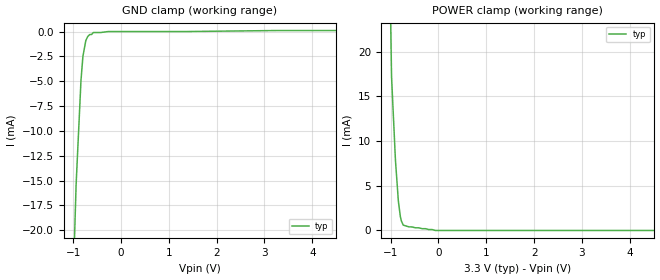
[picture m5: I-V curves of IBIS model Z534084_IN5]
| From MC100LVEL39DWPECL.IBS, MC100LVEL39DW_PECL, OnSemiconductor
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| (C) COPYRIGHT 1993-2000
| MENTOR GRAPHICS CORPORATION
| ICX STANDARD LIBRARY, ICX PROJECT MODELING,
| ICX CUSTOM MODELING, ICX VENDOR MODEL
| ALL RIGHTS RESERVED.
| THE FOLLOWING ARE TRADEMARKS OR SERVICE MARKS OF
| MENTOR GRAPHICS CORPORATION:ICX (R), ICX STANDARD
| LIBRARY(R), ICX PROJECT MODELING(R), ICX CUSTOM
| MODELING(R), qualityIBIS(TM), MODELVIEWER(TM),
| AND MODELEDITOR(TM)
| ALL COPIES OF SOFTWARE, INCLUDING BUT NOT LIMITED TO
| ANY MODIFICATIONS, ENHANCEMENTS OR DERIVATIVE WORKS,
| MUST CONTAIN ALL MENTOR GRAPHICS CORPORATION'S
| NOTICES AND LEGENDS, INCLUDING THOSE EMBEDDED IN
| SOFTWARE AND THOSE AFFIXED TO SOFTWARE MEDIUM
| AND CONTAINER, AS RECEIVED FROM MENTOR GRAPHICS
| CORPORATION.
| Model Application Version 1.89 2/18/99.
[Model] Z534084_IN5
Model_type Input_ECL
Vinl = 2.115V
Vinh = 2.301V
C_comp 4.000pF NA NA
| variable typ   min   max
[Voltage Range] 3.300V NA NA
[GND Clamp Reference] 0.000V NA NA
[POWER Clamp Reference] 3.300V NA NA
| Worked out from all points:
|   GND clamp passes 1 mA (typ) near -0.74 V on its own axis
|   POWER clamp passes 1 mA (typ) near -0.77 V on its own axis
[GND Clamp]
-3.3V     -506.8mA   NA         NA
-1.058V   -35mA      NA         NA
-937mV    -15.4mA    NA         NA
-835mV    -4.9mA     NA         NA
-795mV    -2.5mA     NA         NA
-734mV    -900uA     NA         NA
-693mV    -500uA     NA         NA
-614.9mV  -300uA     NA         NA
-577mV    -100uA     NA         NA
-270.8mV  0A         NA         NA
3.245V    100uA      NA         NA
6.6V      100uA      NA         NA
[POWER Clamp]
-3.3V     494.4mA    NA         NA
-1.162V   77.2mA     NA         NA
-980mV    17.2mA     NA         NA
-899mV    7.9mA      NA         NA
-838mV    3.3mA      NA         NA
-797mV    1.6mA      NA         NA
-777mV    1.1mA      NA         NA
-736mV    600uA      NA         NA
-614.5mV  400uA      NA         NA
-64mV     0A         NA         NA
6.6V      0A         NA         NA
